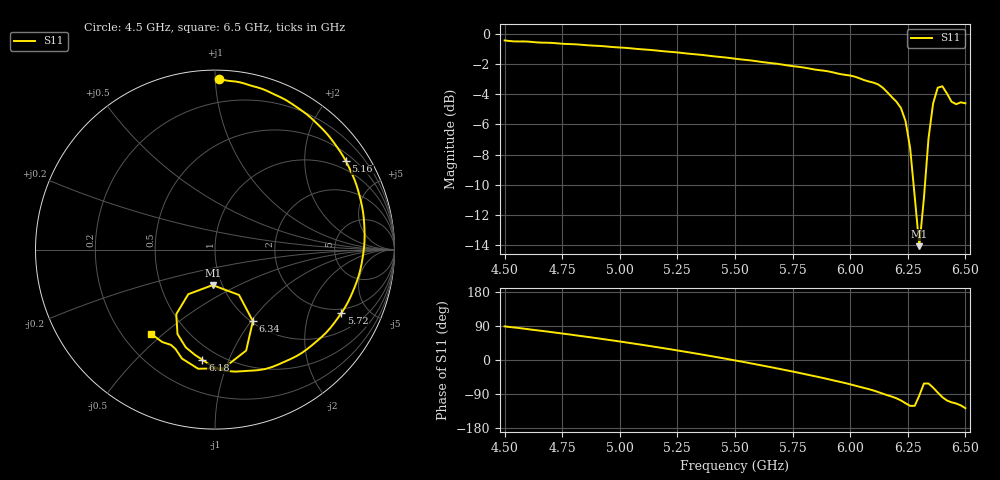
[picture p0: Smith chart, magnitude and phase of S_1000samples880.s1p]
! TOUCHSTONE file generated by CST MICROWAVE STUDIO
! Date and time: Sat Oct 29 16:36:19 2022
! Project name: L.cst
! Parameters = {Di=1.27; Epsilon_r=1.56; InnerDiameter=1.27; Length=2; Lf=10; Lg=60; OuterConductorThickness=0.2921; OuterDiameter=3.6; Wf=3; Wp=41.2; de=1.5; df=6.8; g=0.8; gx=1.81108; gy=3.61699; h=2.34; hf=1.524; px=8.98199; py=13.9219; w=9.7; wx=7.17092; wy=10.3049}
! Header version: 2018
! Port assignment regex: !\s*Touchstone port\s*([0-9]+)\s*=\s*(CST MWS port|CST DS port)\s*([0-9]+|Zmin|Zmax)\s*\(\"(.*)\"\)(\s*mode\s*([0-9]+))?.*
! Touchstone port assignment:
! Touchstone port 1 = CST MWS port 1 ("")
# GHz S DB R 50
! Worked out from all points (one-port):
!   101 points, 4.5 GHz to 6.5 GHz, reference 50 ohm
!   lowest |S11| = -14.1 dB at 6.3 GHz (marker M1), VSWR 1.49, Z = 45.1 - j18.6 ohm
!   |S11| at or under -10 dB: 6.275 GHz to 6.324 GHz (49.12 MHz wide, 0.78 % of centre)
!   S11 on the Smith chart (normalised r, x): 4.5 GHz: 0.05, +1.02; 5.16 GHz: 0.71, +3.12; 5.72 GHz: 1.77, -3.31; 6.18 GHz: 0.41, -0.81; 6.34 GHz: 1.02, -1.02; 6.5 GHz: 0.32, -0.46
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4.5  -0.44 88.7
4.76  -0.67 69.1
5  -0.91 48.9
5.16  -1.11 34.0
5.26  -1.25 24.2
5.38  -1.44 11.9
5.5  -1.65 -1.1
5.6  -1.83 -12.5
5.72  -2.07 -26.8
5.76  -2.16 -31.7
5.9  -2.48 -50.0
6  -2.77 -64.1
6.12  -3.34 -84.3
6.18  -4.18 -96.5
6.22  -4.90 -106.6
6.24  -5.77 -114.0
6.26  -7.54 -120.9
6.28  -10.76 -120.9
6.3  -14.06 -93.8
6.32  -10.87 -62.1
6.34  -6.91 -62.1
6.36  -4.60 -72.9
6.38  -3.57 -86.0
6.4  -3.47 -98.1
6.42  -3.95 -106.9
6.44  -4.50 -111.7
6.46  -4.66 -114.8
6.5  -4.60 -127.1
